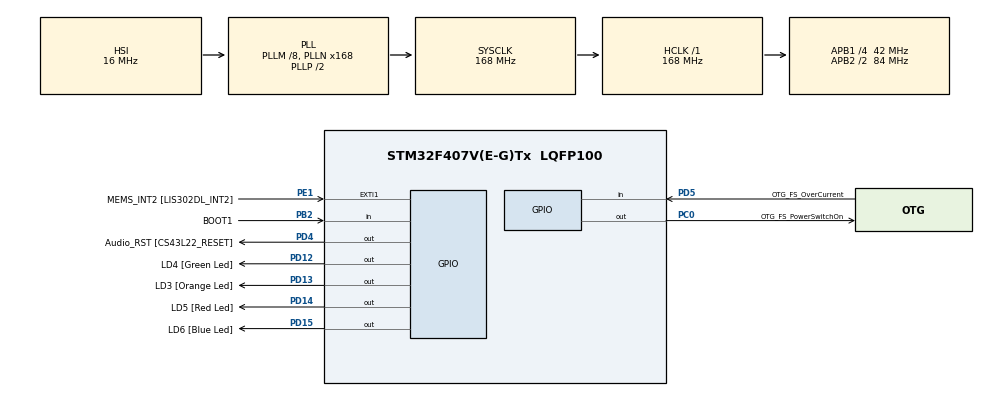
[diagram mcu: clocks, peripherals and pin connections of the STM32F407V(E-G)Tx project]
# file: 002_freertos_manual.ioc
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Mcu.Family=STM32F4
Mcu.Name=STM32F407V(E-G)Tx
Mcu.Package=LQFP100
NVIC.PriorityGroup=NVIC_PRIORITYGROUP_4
NVIC.TIM6_DAC_IRQn=true\:0\:0\:false\:false\:true\:false\:true\:true
NVIC.TimeBase=TIM6_DAC_IRQn
NVIC.TimeBaseIP=TIM6
PA10.GPIO_Label=OTG_FS_ID
PA10.GPIO_Mode=GPIO_MODE_AF_PP
PA10.GPIO_PuPd=GPIO_NOPULL
PA10.GPIO_Speed=GPIO_SPEED_FREQ_LOW
PA10.Signal=USB_OTG_FS_ID
PA11.GPIO_Label=OTG_FS_DM
PA11.GPIO_Mode=GPIO_MODE_AF_PP
PA11.GPIO_PuPd=GPIO_NOPULL
PA11.GPIO_Speed=GPIO_SPEED_FREQ_LOW
PA11.Signal=USB_OTG_FS_DM
PA12.GPIO_Label=OTG_FS_DP
PA12.GPIO_Mode=GPIO_MODE_AF_PP
PA12.GPIO_PuPd=GPIO_NOPULL
PA12.GPIO_Speed=GPIO_SPEED_FREQ_LOW
PA12.Signal=USB_OTG_FS_DP
PA13.GPIO_Label=SWDIO
PA13.Signal=SYS_JTMS-SWDIO
PA14.GPIO_Label=SWCLK
PA14.Signal=SYS_JTCK-SWCLK
PA4.GPIO_Label=I2S3_WS [CS43L22_LRCK]
PA4.GPIO_Mode=GPIO_MODE_AF_PP
PA4.GPIO_PuPd=GPIO_NOPULL
PA4.GPIO_Speed=GPIO_SPEED_FREQ_LOW
PA4.Signal=I2S3_WS
PA5.GPIO_Label=SPI1_SCK [LIS302DL_SCL/SPC]
PA5.GPIO_Mode=GPIO_MODE_AF_PP
PA5.GPIO_PuPd=GPIO_NOPULL
PA5.GPIO_Speed=GPIO_SPEED_FREQ_LOW
PA5.Signal=SPI1_SCK
PA6.GPIO_Label=SPI1_MISO [LIS302DL_SDO]
PA6.GPIO_Mode=GPIO_MODE_AF_PP
PA6.GPIO_PuPd=GPIO_NOPULL
PA6.GPIO_Speed=GPIO_SPEED_FREQ_LOW
PA6.Signal=SPI1_MISO
PA7.GPIO_Label=SPI1_MOSI [LIS302DL_SDA/SDI/SDO]
PA7.GPIO_Mode=GPIO_MODE_AF_PP
PA7.GPIO_PuPd=GPIO_NOPULL
PA7.GPIO_Speed=GPIO_SPEED_FREQ_LOW
PA7.Signal=SPI1_MOSI
PA9.GPIO_Label=VBUS_FS
PA9.GPIO_Mode=GPIO_MODE_INPUT
PA9.GPIO_PuPd=GPIO_NOPULL
PA9.Signal=USB_OTG_FS_VBUS
PB10.GPIO_Label=CLK_IN [MP45DT02_CLK]
PB10.GPIO_Mode=GPIO_MODE_AF_PP
PB10.GPIO_PuPd=GPIO_NOPULL
PB10.GPIO_Speed=GPIO_SPEED_FREQ_LOW
PB10.Signal=I2S2_CK
PB2.GPIO_Label=BOOT1
PB2.GPIO_Mode=GPIO_MODE_INPUT
PB2.GPIO_PuPd=GPIO_NOPULL
PB2.Signal=GPIO_Input
PB3.GPIO_Label=SWO
PB3.Signal=SYS_JTDO-SWO
PB6.GPIO_Label=Audio_SCL [CS43L22_SCL]
PB6.GPIO_Mode=GPIO_MODE_AF_OD
PB6.GPIO_PuPd=GPIO_NOPULL
PB6.GPIO_Speed=GPIO_SPEED_FREQ_LOW
PB6.Signal=I2C1_SCL
PB9.GPIO_Label=Audio_SDA [CS43L22_SDA]
PB9.GPIO_Mode=GPIO_MODE_AF_OD
PB9.GPIO_PuPd=GPIO_NOPULL
PB9.GPIO_Speed=GPIO_SPEED_FREQ_LOW
PB9.Signal=I2C1_SDA
PC0.GPIO_Label=OTG_FS_PowerSwitchOn
PC0.GPIO_PuPd=GPIO_NOPULL
PC0.GPIO_Speed=GPIO_SPEED_FREQ_LOW
PC0.PinState=GPIO_PIN_SET
PC0.Signal=GPIO_Output
PC10.GPIO_Label=I2S3_SCK [CS43L22_SCLK]
PC10.GPIO_Mode=GPIO_MODE_AF_PP
PC10.GPIO_PuPd=GPIO_NOPULL
PC10.GPIO_Speed=GPIO_SPEED_FREQ_LOW
PC10.Signal=I2S3_CK
PC12.GPIO_Label=I2S3_SD [CS43L22_SDIN]
PC12.GPIO_Mode=GPIO_MODE_AF_PP
PC12.GPIO_PuPd=GPIO_NOPULL
PC12.GPIO_Speed=GPIO_SPEED_FREQ_LOW
PC12.Signal=I2S3_SD
PC14-OSC32_IN.GPIO_Label=PC14-OSC32_IN
PC14-OSC32_IN.Signal=RCC_OSC32_IN
PC15-OSC32_OUT.GPIO_Label=PC15-OSC32_OUT
PC15-OSC32_OUT.Signal=RCC_OSC32_OUT
PC3.GPIO_Label=PDM_OUT [MP45DT02_DOUT]
PC3.GPIO_Mode=GPIO_MODE_AF_PP
PC3.GPIO_PuPd=GPIO_NOPULL
PC3.GPIO_Speed=GPIO_SPEED_FREQ_LOW
PC3.Signal=I2S2_SD
PC7.GPIO_Label=I2S3_MCK [CS43L22_MCLK]
PC7.GPIO_Mode=GPIO_MODE_AF_PP
PC7.GPIO_PuPd=GPIO_NOPULL
PC7.GPIO_Speed=GPIO_SPEED_FREQ_LOW
PC7.Signal=I2S3_MCK
PD12.GPIO_Label=LD4 [Green Led]
PD12.GPIO_PuPd=GPIO_NOPULL
PD12.GPIO_Speed=GPIO_SPEED_FREQ_LOW
PD12.Signal=GPIO_Output
PD13.GPIO_Label=LD3 [Orange Led]
PD13.GPIO_PuPd=GPIO_NOPULL
PD13.GPIO_Speed=GPIO_SPEED_FREQ_LOW
PD13.Signal=GPIO_Output
PD14.GPIO_Label=LD5 [Red Led]
PD14.GPIO_PuPd=GPIO_NOPULL
PD14.GPIO_Speed=GPIO_SPEED_FREQ_LOW
PD14.Signal=GPIO_Output
PD15.GPIO_Label=LD6 [Blue Led]
PD15.GPIO_PuPd=GPIO_NOPULL
PD15.GPIO_Speed=GPIO_SPEED_FREQ_LOW
PD15.Signal=GPIO_Output
PD4.GPIO_Label=Audio_RST [CS43L22_RESET]
PD4.GPIO_PuPd=GPIO_NOPULL
PD4.GPIO_Speed=GPIO_SPEED_FREQ_LOW
PD4.Signal=GPIO_Output
PD5.GPIO_Label=OTG_FS_OverCurrent
PD5.GPIO_Mode=GPIO_MODE_INPUT
PD5.GPIO_PuPd=GPIO_NOPULL
PD5.Signal=GPIO_Input
PE1.GPIO_Label=MEMS_INT2 [LIS302DL_INT2]
PE1.GPIO_ModeDefaultEXTI=GPIO_MODE_EVT_RISING
PE1.GPIO_PuPd=GPIO_NOPULL
PE1.Signal=GPXTI1
PH0-OSC_IN.GPIO_Label=PH0-OSC_IN
PH0-OSC_IN.Signal=RCC_OSC_IN
PH1-OSC_OUT.GPIO_Label=PH1-OSC_OUT
PH1-OSC_OUT.Signal=RCC_OSC_OUT
ProjectManager.HeapSize=0x200
ProjectManager.StackSize=0x400
ProjectManager.TargetToolchain=STM32CubeIDE
RCC.48MHZClocksFreq_Value=48000000
RCC.AHBFreq_Value=168000000
RCC.APB1CLKDivider=RCC_HCLK_DIV4
RCC.APB1Freq_Value=42000000
RCC.APB1TimFreq_Value=84000000
RCC.APB2CLKDivider=RCC_HCLK_DIV2
RCC.APB2Freq_Value=84000000
RCC.APB2TimFreq_Value=168000000
RCC.CortexFreq_Value=168000000
RCC.HCLKFreq_Value=168000000
RCC.HSE_VALUE=8000000
RCC.HSI_VALUE=16000000
RCC.LSE_VALUE=32768
RCC.PLLM=8
RCC.PLLN=168
RCC.PLLQ=7
RCC.SYSCLKFreq_VALUE=168000000
RCC.SYSCLKSource=RCC_SYSCLKSOURCE_PLLCLK
RCC.VCOOutputFreq_Value=336000000
VP_SYS_VS_tim6.Mode=TIM6
board=STM32F407G-DISC1

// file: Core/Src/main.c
/* USER CODE BEGIN Header */
/**
  ******************************************************************************
  * @file           : main.c
  * @brief          : Main program body
  ******************************************************************************
  * @attention
  *
  * Copyright (c) 2025 STMicroelectronics.
  * All rights reserved.
  *
  * This software is licensed under terms that can be found in the LICENSE file
  * in the root directory of this software component.
  * If no LICENSE file comes with this software, it is provided AS-IS.
  *
  ******************************************************************************
  */
/* USER CODE END Header */
#include "main.h"

/* USER CODE BEGIN Includes */
#include "FreeRTOS.h"
#include "task.h"
#include <stdio.h>
/* USER CODE END Includes */

/* USER CODE BEGIN PD */
#define ever ;;
#define DWT_CTRL (*(volatile uint32_t*)0xE0001000)
/* USER CODE END PD */

void SystemClock_Config(void);
static void MX_GPIO_Init(void);
/* USER CODE BEGIN PFP */
static void task1_handler(void *parameters);
static void task2_handler(void *parameters);
/* USER CODE END PFP */

int main(void)
{

  /* USER CODE BEGIN 1 */
	TaskHandle_t task1_handle;
	TaskHandle_t task2_handle;

	BaseType_t status;

  /* USER CODE END 1 */

  /* MCU Configuration--------------------------------------------------------*/

  /* Reset of all peripherals, Initializes the Flash interface and the Systick. */
  HAL_Init();

  /* Configure the system clock */
  SystemClock_Config();

  /* Initialize all configured peripherals */
  MX_GPIO_Init();
  /* USER CODE BEGIN 2 */

  // enable the CYCCNT counter
  DWT_CTRL |= (1 << 0);

  SEGGER_UART_init(500000);

  SEGGER_SYSVIEW_Conf();

//  SEGGER_SYSVIEW_Start();

  status = xTaskCreate(task1_handler, "task-1", 200, "hello from task-1", 2, &task1_handle);

  configASSERT(status == pdPASS);

  status = xTaskCreate(task2_handler, "task-2", 200, "hello from task-2", 2, &task2_handle);

  configASSERT(status == pdPASS);

  // start the freertos scheduler
  vTaskStartScheduler();

  //

  /* USER CODE END 2 */

  /* Infinite loop */
  while (1)
  {

  }
}

void SystemClock_Config(void)
{
  RCC_OscInitTypeDef RCC_OscInitStruct = {0};
  RCC_ClkInitTypeDef RCC_ClkInitStruct = {0};

  /** Configure the main internal regulator output voltage
  */
  __HAL_RCC_PWR_CLK_ENABLE();
  __HAL_PWR_VOLTAGESCALING_CONFIG(PWR_REGULATOR_VOLTAGE_SCALE1);

  /** Initializes the RCC Oscillators according to the specified parameters
  * in the RCC_OscInitTypeDef structure.
  */
  RCC_OscInitStruct.OscillatorType = RCC_OSCILLATORTYPE_HSI;
  RCC_OscInitStruct.HSIState = RCC_HSI_ON;
  RCC_OscInitStruct.HSICalibrationValue = RCC_HSICALIBRATION_DEFAULT;
  RCC_OscInitStruct.PLL.PLLState = RCC_PLL_ON;
  RCC_OscInitStruct.PLL.PLLSource = RCC_PLLSOURCE_HSI;
  RCC_OscInitStruct.PLL.PLLM = 8;
  RCC_OscInitStruct.PLL.PLLN = 168;
  RCC_OscInitStruct.PLL.PLLP = RCC_PLLP_DIV2;
  RCC_OscInitStruct.PLL.PLLQ = 7;
  if (HAL_RCC_OscConfig(&RCC_OscInitStruct) != HAL_OK)
  {
    Error_Handler();
  }

  /** Initializes the CPU, AHB and APB buses clocks
  */
  RCC_ClkInitStruct.ClockType = RCC_CLOCKTYPE_HCLK|RCC_CLOCKTYPE_SYSCLK
                              |RCC_CLOCKTYPE_PCLK1|RCC_CLOCKTYPE_PCLK2;
  RCC_ClkInitStruct.SYSCLKSource = RCC_SYSCLKSOURCE_PLLCLK;
  RCC_ClkInitStruct.AHBCLKDivider = RCC_SYSCLK_DIV1;
  RCC_ClkInitStruct.APB1CLKDivider = RCC_HCLK_DIV4;
  RCC_ClkInitStruct.APB2CLKDivider = RCC_HCLK_DIV2;

  if (HAL_RCC_ClockConfig(&RCC_ClkInitStruct, FLASH_LATENCY_5) != HAL_OK)
  {
    Error_Handler();
  }
}

static void MX_GPIO_Init(void)
{
  GPIO_InitTypeDef GPIO_InitStruct = {0};

  /* GPIO Ports Clock Enable */
  __HAL_RCC_GPIOC_CLK_ENABLE();
  __HAL_RCC_GPIOH_CLK_ENABLE();
  __HAL_RCC_GPIOA_CLK_ENABLE();
  __HAL_RCC_GPIOB_CLK_ENABLE();
  __HAL_RCC_GPIOD_CLK_ENABLE();
  __HAL_RCC_GPIOE_CLK_ENABLE();

  /*Configure GPIO pin Output Level */
  HAL_GPIO_WritePin(OTG_FS_PowerSwitchOn_GPIO_Port, OTG_FS_PowerSwitchOn_Pin, GPIO_PIN_SET);

  /*Configure GPIO pin Output Level */
  HAL_GPIO_WritePin(GPIOD, LD4_Pin|LD3_Pin|LD5_Pin|LD6_Pin
                          |Audio_RST_Pin, GPIO_PIN_RESET);

  /*Configure GPIO pin : OTG_FS_PowerSwitchOn_Pin */
  GPIO_InitStruct.Pin = OTG_FS_PowerSwitchOn_Pin;
  GPIO_InitStruct.Mode = GPIO_MODE_OUTPUT_PP;
  GPIO_InitStruct.Pull = GPIO_NOPULL;
  GPIO_InitStruct.Speed = GPIO_SPEED_FREQ_LOW;
  HAL_GPIO_Init(OTG_FS_PowerSwitchOn_GPIO_Port, &GPIO_InitStruct);

  /*Configure GPIO pin : PDM_OUT_Pin */
  GPIO_InitStruct.Pin = PDM_OUT_Pin;
  GPIO_InitStruct.Mode = GPIO_MODE_AF_PP;
  GPIO_InitStruct.Pull = GPIO_NOPULL;
  GPIO_InitStruct.Speed = GPIO_SPEED_FREQ_LOW;
  GPIO_InitStruct.Alternate = GPIO_AF5_SPI2;
  HAL_GPIO_Init(PDM_OUT_GPIO_Port, &GPIO_InitStruct);

  /*Configure GPIO pin : I2S3_WS_Pin */
  GPIO_InitStruct.Pin = I2S3_WS_Pin;
  GPIO_InitStruct.Mode = GPIO_MODE_AF_PP;
  GPIO_InitStruct.Pull = GPIO_NOPULL;
  GPIO_InitStruct.Speed = GPIO_SPEED_FREQ_LOW;
  GPIO_InitStruct.Alternate = GPIO_AF6_SPI3;
  HAL_GPIO_Init(I2S3_WS_GPIO_Port, &GPIO_InitStruct);

  /*Configure GPIO pins : SPI1_SCK_Pin SPI1_MISO_Pin SPI1_MOSI_Pin */
  GPIO_InitStruct.Pin = SPI1_SCK_Pin|SPI1_MISO_Pin|SPI1_MOSI_Pin;
  GPIO_InitStruct.Mode = GPIO_MODE_AF_PP;
  GPIO_InitStruct.Pull = GPIO_NOPULL;
  GPIO_InitStruct.Speed = GPIO_SPEED_FREQ_LOW;
  GPIO_InitStruct.Alternate = GPIO_AF5_SPI1;
  HAL_GPIO_Init(GPIOA, &GPIO_InitStruct);

  /*Configure GPIO pin : BOOT1_Pin */
  GPIO_InitStruct.Pin = BOOT1_Pin;
  GPIO_InitStruct.Mode = GPIO_MODE_INPUT;
  GPIO_InitStruct.Pull = GPIO_NOPULL;
  HAL_GPIO_Init(BOOT1_GPIO_Port, &GPIO_InitStruct);

  /*Configure GPIO pin : CLK_IN_Pin */
  GPIO_InitStruct.Pin = CLK_IN_Pin;
  GPIO_InitStruct.Mode = GPIO_MODE_AF_PP;
  GPIO_InitStruct.Pull = GPIO_NOPULL;
  GPIO_InitStruct.Speed = GPIO_SPEED_FREQ_LOW;
  GPIO_InitStruct.Alternate = GPIO_AF5_SPI2;
  HAL_GPIO_Init(CLK_IN_GPIO_Port, &GPIO_InitStruct);

  /*Configure GPIO pins : LD4_Pin LD3_Pin LD5_Pin LD6_Pin
                           Audio_RST_Pin */
  GPIO_InitStruct.Pin = LD4_Pin|LD3_Pin|LD5_Pin|LD6_Pin
                          |Audio_RST_Pin;
  GPIO_InitStruct.Mode = GPIO_MODE_OUTPUT_PP;
  GPIO_InitStruct.Pull = GPIO_NOPULL;
  GPIO_InitStruct.Speed = GPIO_SPEED_FREQ_LOW;
  HAL_GPIO_Init(GPIOD, &GPIO_InitStruct);

  /*Configure GPIO pins : I2S3_MCK_Pin I2S3_SCK_Pin I2S3_SD_Pin */
  GPIO_InitStruct.Pin = I2S3_MCK_Pin|I2S3_SCK_Pin|I2S3_SD_Pin;
  GPIO_InitStruct.Mode = GPIO_MODE_AF_PP;
  GPIO_InitStruct.Pull = GPIO_NOPULL;
  GPIO_InitStruct.Speed = GPIO_SPEED_FREQ_LOW;
  GPIO_InitStruct.Alternate = GPIO_AF6_SPI3;
  HAL_GPIO_Init(GPIOC, &GPIO_InitStruct);

  /*Configure GPIO pin : VBUS_FS_Pin */
  GPIO_InitStruct.Pin = VBUS_FS_Pin;
  GPIO_InitStruct.Mode = GPIO_MODE_INPUT;
  GPIO_InitStruct.Pull = GPIO_NOPULL;
  HAL_GPIO_Init(VBUS_FS_GPIO_Port, &GPIO_InitStruct);

  /*Configure GPIO pins : OTG_FS_ID_Pin OTG_FS_DM_Pin OTG_FS_DP_Pin */
  GPIO_InitStruct.Pin = OTG_FS_ID_Pin|OTG_FS_DM_Pin|OTG_FS_DP_Pin;
  GPIO_InitStruct.Mode = GPIO_MODE_AF_PP;
  GPIO_InitStruct.Pull = GPIO_NOPULL;
  GPIO_InitStruct.Speed = GPIO_SPEED_FREQ_LOW;
  GPIO_InitStruct.Alternate = GPIO_AF10_OTG_FS;
  HAL_GPIO_Init(GPIOA, &GPIO_InitStruct);

  /*Configure GPIO pin : OTG_FS_OverCurrent_Pin */
  GPIO_InitStruct.Pin = OTG_FS_OverCurrent_Pin;
  GPIO_InitStruct.Mode = GPIO_MODE_INPUT;
  GPIO_InitStruct.Pull = GPIO_NOPULL;
  HAL_GPIO_Init(OTG_FS_OverCurrent_GPIO_Port, &GPIO_InitStruct);

  /*Configure GPIO pins : Audio_SCL_Pin Audio_SDA_Pin */
  GPIO_InitStruct.Pin = Audio_SCL_Pin|Audio_SDA_Pin;
  GPIO_InitStruct.Mode = GPIO_MODE_AF_OD;
  GPIO_InitStruct.Pull = GPIO_NOPULL;
  GPIO_InitStruct.Speed = GPIO_SPEED_FREQ_LOW;
  GPIO_InitStruct.Alternate = GPIO_AF4_I2C1;
  HAL_GPIO_Init(GPIOB, &GPIO_InitStruct);

  /*Configure GPIO pin : MEMS_INT2_Pin */
  GPIO_InitStruct.Pin = MEMS_INT2_Pin;
  GPIO_InitStruct.Mode = GPIO_MODE_EVT_RISING;
  GPIO_InitStruct.Pull = GPIO_NOPULL;
  HAL_GPIO_Init(MEMS_INT2_GPIO_Port, &GPIO_InitStruct);

}

/* USER CODE BEGIN 4 */
static void task1_handler(void *parameters)
{
	char msg[100];
	for(ever)
	{
//		printf("%s\n", (char*)parameters);
		snprintf(msg, 100, "%s\n", (char*)parameters);
		SEGGER_SYSVIEW_PrintfTarget(msg);
		taskYIELD();
	}
}

static void task2_handler(void *parameters)
{
	char msg[100];
	for(ever)
	{
//		printf("%s\n", (char*)parameters);
		snprintf(msg, 100, "%s\n", (char*)parameters);
		SEGGER_SYSVIEW_PrintfTarget(msg);
		taskYIELD();
	}
}
/* USER CODE END 4 */

void HAL_TIM_PeriodElapsedCallback(TIM_HandleTypeDef *htim)
{
  if (htim->Instance == TIM6)
  {
    HAL_IncTick();
  }
}

void Error_Handler(void)
{
  __disable_irq();
  while (1)
  {
  }
}
